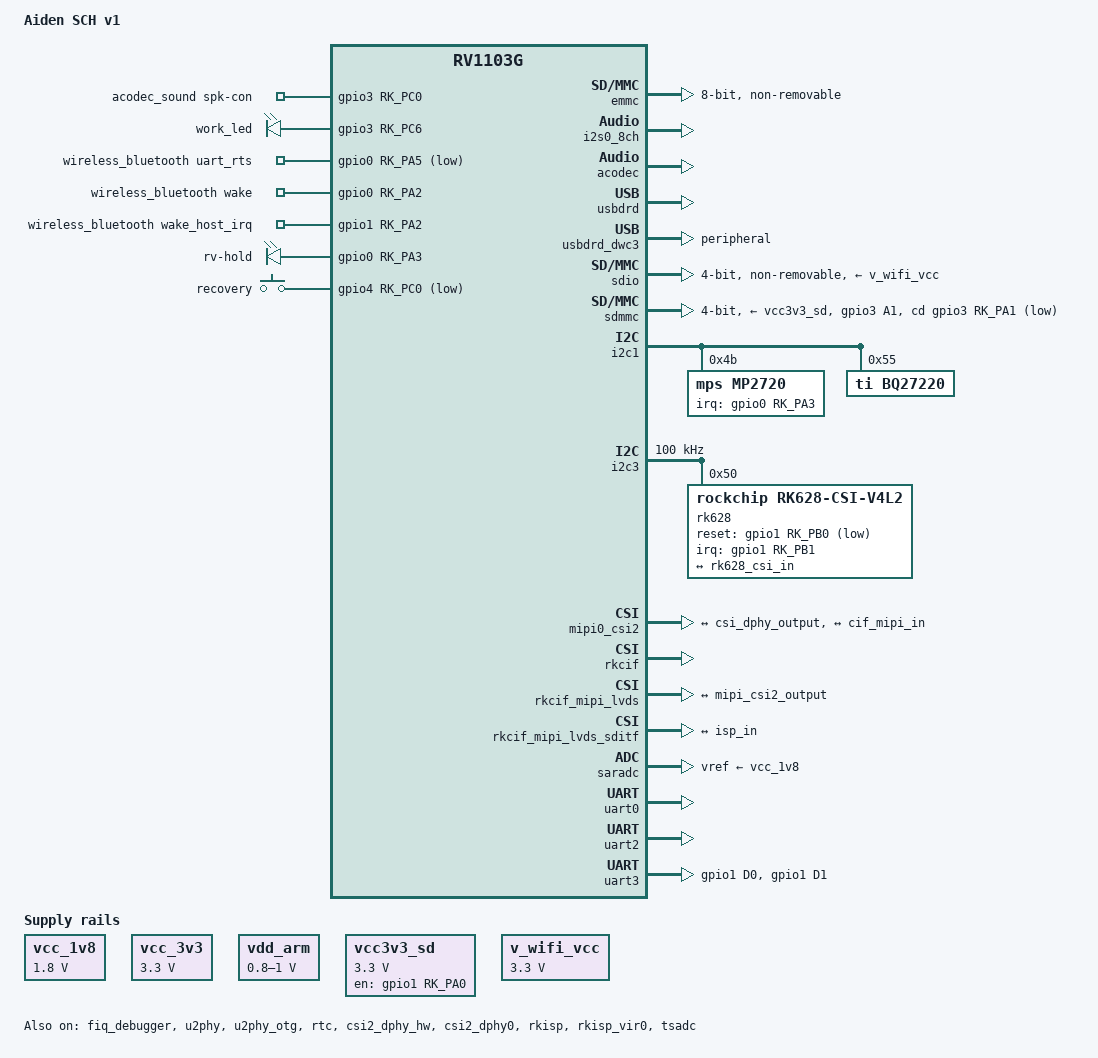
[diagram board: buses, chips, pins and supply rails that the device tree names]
// SPDX-License-Identifier: (GPL-2.0+ OR MIT)
/*
 * Aiden SCH v1 (RV1106G) board device tree
 *
 * Derived from rv1106g-luckfox-pico-zero.dts and
 * rv1106-luckfox-pico-zero-ipc.dtsi and adapted to the Aiden SCH v1
 * hardware (GD32L235 MCU + MP2720 charger + BQ27220 fuel gauge,
 * RK628F/H HDMI-to-CSI bridge on I2C3, SDMMC0 TF card, SKI.WB800
 * WiFi/BT, AW8010 amplifier and ASRPro voice module).
 */

/dts-v1/;
#include "rv1106.dtsi"
#include "rv1106-evb.dtsi"
#include <dt-bindings/input/input.h>
#include <dt-bindings/display/media-bus-format.h>

/ {
	model = "Aiden SCH v1";
	compatible = "rockchip,rv1103g-38x38-ipc-v10", "rockchip,rv1106g3";

	chosen {
		bootargs = "earlycon=uart8250,mmio32,0xff4c0000 console=ttyFIQ0 root=/dev/mmcblk0p7 rootwait snd_soc_core.prealloc_buffer_size_kbytes=16 coherent_pool=0";
	};

	restart-poweroff {
		compatible = "restart-poweroff";
	};

	reserved_memory: reserved-memory {
		status = "okay";
		#address-cells = <1>;
		#size-cells = <1>;
		ranges;
		mmc_ecsd: mmc@3f000 {
			reg = <0x3f000 0x00001000>;
		};
	};

	acodec_sound: acodec-sound {
		compatible = "simple-audio-card";
		simple-audio-card,name = "rv1106-acodec";
		simple-audio-card,format = "i2s";
		simple-audio-card,mclk-fs = <256>;
		/* AW8010AFCR Class-D amplifier enable/shutdown (SPK_SDn_1V8). */
		spk-con-gpios = <&gpio3 RK_PC0 GPIO_ACTIVE_HIGH>;
		status = "okay";
		simple-audio-card,cpu {
			sound-dai = <&i2s0_8ch>;
		};
		simple-audio-card,codec {
			sound-dai = <&acodec>;
		};
	};

	dsm_sound: dsm-sound {
		status = "disabled";
		compatible = "simple-audio-card";
		simple-audio-card,format = "i2s";
		simple-audio-card,mclk-fs = <256>;
		simple-audio-card,name = "rockchip,dsm-sound";
		simple-audio-card,bitclock-master = <&sndcodec>;
		simple-audio-card,frame-master = <&sndcodec>;
		sndcpu: simple-audio-card,cpu {
			sound-dai = <&i2s0_8ch>;
		};
		sndcodec: simple-audio-card,codec {
			sound-dai = <&dsm>;
		};
	};

	vcc_1v8: vcc-1v8 {
		compatible = "regulator-fixed";
		regulator-name = "vcc_1v8";
		regulator-always-on;
		regulator-boot-on;
		regulator-min-microvolt = <1800000>;
		regulator-max-microvolt = <1800000>;
	};

	vcc_3v3: vcc-3v3 {
		compatible = "regulator-fixed";
		regulator-name = "vcc_3v3";
		regulator-always-on;
		regulator-boot-on;
		regulator-min-microvolt = <3300000>;
		regulator-max-microvolt = <3300000>;
	};

	vdd_arm: vdd-arm {
		compatible = "regulator-fixed";
		regulator-name = "vdd_arm";
		regulator-min-microvolt = <800000>;
		regulator-max-microvolt = <1000000>;
		regulator-init-microvolt = <900000>;
		regulator-always-on;
		regulator-boot-on;
	};

	/* TF card supply switch driven by the WS4622C (SDMMC0_PWREN). */
	vcc3v3_sd: vcc3v3-sd-regulator {
		compatible = "regulator-fixed";
		regulator-name = "vcc3v3_sd";
		gpio = <&gpio1 RK_PA0 GPIO_ACTIVE_HIGH>;
		regulator-min-microvolt = <3300000>;
		regulator-max-microvolt = <3300000>;
		enable-active-high;
	};

	/* WiFi (SKI.WB800) 3.3V rail. */
	v_wifi_vcc: v-wifi-vcc {
		compatible = "regulator-fixed";
		regulator-name = "v_wifi_vcc";
		regulator-always-on;
		regulator-boot-on;
		regulator-min-microvolt = <3300000>;
		regulator-max-microvolt = <3300000>;
	};

	leds: leds {
		compatible = "gpio-leds";
		work_led: work {
			gpios = <&gpio3 RK_PC6 GPIO_ACTIVE_HIGH>;
			linux,default-trigger = "activity";
			default-state = "on";
		};
	};

	wireless_bluetooth: wireless-bluetooth {
		compatible = "bluetooth-platdata";
		uart_rts_gpios = <&gpio0 RK_PA5 GPIO_ACTIVE_LOW>;
		pinctrl-names = "default";
		BT,wake_gpio     = <&gpio0 RK_PA2 GPIO_ACTIVE_HIGH>; /* RV_WAKE_BT_1V8 */
		BT,wake_host_irq = <&gpio1 RK_PA2 GPIO_ACTIVE_HIGH>; /* BT_WAKE_MCU */
		status = "okay";
	};

	/*
	 * GD32L235 companion MCU interface.
	 *
	 * RV_HOLD keeps VCC5V0_SYS enabled: the MCU forces the rail up at
	 * power-on and cuts it again unless the SoC takes over the signal
	 * within its supervision window.  The kernel drives GPIO0_A3 high
	 * through the gpio-leds default state.
	 */
	mcu_control {
		compatible = "gpio-leds";

		rv_hold {
			label = "rv-hold";
			gpios = <&gpio0 RK_PA3 GPIO_ACTIVE_HIGH>;
			default-state = "on";
		};
	};

	/*
	 * RECOVERY shares the GPIO4_C0 / SARADC_IN0 ball.  Pulling it low
	 * while the BootROM samples the pin enters Loader/download mode; at
	 * runtime it is reported as a KEY_VENDOR key event.
	 */
	gpio-keys {
		compatible = "gpio-keys";
		autorepeat;

		recovery {
			label = "recovery";
			linux,code = <KEY_VENDOR>;
			gpios = <&gpio4 RK_PC0 GPIO_ACTIVE_LOW>;
			debounce-interval = <100>;
		};
	};

	/*
	 * The EVB ADC volume keys are not populated; GPIO4_C0 is used as
	 * RECOVERY instead of as SARADC_IN0.
	 */
	adc-keys {
		status = "disabled";
	};
};

/**********CRU**********/
&cru {
	assigned-clocks =
		<&cru PLL_GPLL>, <&cru PLL_CPLL>,
		<&cru ARMCLK>,
		<&cru ACLK_PERI_ROOT>, <&cru HCLK_PERI_ROOT>,
		<&cru PCLK_PERI_ROOT>, <&cru ACLK_BUS_ROOT>,
		<&cru PCLK_TOP_ROOT>, <&cru PCLK_PMU_ROOT>,
		<&cru HCLK_PMU_ROOT>, <&cru CLK_500M_SRC>;
	assigned-clock-rates =
		<1188000000>, <700000000>,
		<1104000000>,
		<400000000>, <200000000>,
		<100000000>, <300000000>,
		<100000000>, <100000000>,
		<200000000>, <700000000>;
};

/**********NPU**********/
&npu {
	assigned-clock-rates = <700000000>;
};

/**********EMMC**********/
&emmc {
	bus-width = <8>;
	cap-mmc-highspeed;
	non-removable;
	// mmc-hs200-1_8v;
	rockchip,default-sample-phase = <90>;
	no-sdio;
	no-sd;
	memory-region-ecsd = <&mmc_ecsd>;
	post-power-on-delay-ms = <0>;
	status = "okay";
};

&cpu0 {
	cpu-supply = <&vdd_arm>;
};

/************************* FIQ_DUBUGGER ****************************/
&fiq_debugger {
	rockchip,irq-mode-enable = <1>;
	status = "okay";
};

/***************************** audio ********************************/
&i2s0_8ch {
	#sound-dai-cells = <0>;
	status = "okay";
};

&acodec {
	#sound-dai-cells = <0>;
	status = "okay";
};

/***************************** DSM *********************************/
&dsm {
	status = "disabled";
};

/***************************** USB *********************************/
&u2phy {
	status = "okay";
};

&u2phy_otg {
	status = "okay";
};

&usbdrd {
	status = "okay";
};

&usbdrd_dwc3 {
	extcon = <&u2phy>;
	status = "okay";
	dr_mode = "peripheral";
};

/**********SDIO-WIFI (SKI.WB800)**********/
&sdio {
	max-frequency = <50000000>;
	bus-width = <4>;
	non-removable;
	cap-sd-highspeed;
	supports-sdio;
	vmmc-supply = <&v_wifi_vcc>; /* WiFi supply */
	pinctrl-names = "default";
	pinctrl-0 = <&sdmmc1m0_cmd &sdmmc1m0_clk &sdmmc1m0_bus4>;
	status = "okay";
};

/**********SD_CARD / TF (SDMMC0)**********/
&sdmmc {
	max-frequency = <50000000>;
	bus-width = <4>;
	cap-sd-highspeed;
	supports-sd;
	disable-wp;
	vmmc-supply = <&vcc3v3_sd>; /* TF card supply */
	cd-gpios = <&gpio3 RK_PA1 GPIO_ACTIVE_LOW>; /* SDMMC_DET */
	pinctrl-names = "default";
	pinctrl-0 = <&sdmmc0_clk &sdmmc0_cmd &sdmmc0_bus4 &sdmmc0_det>;
	status = "okay";
};

&pinctrl {
	sdmmc0 {
		sdmmc0_det: sdmmc0-det {
			rockchip,pins =
				/* sdmmc0_det */
				<3 RK_PA1 1 &pcfg_pull_up>;
		};
	};
};

/**********ETH**********/
&gmac {
	status = "disabled";
};

/**********RTC**********/
&rtc {
	status = "okay";
};

/**********Power management / I2C**********/
&i2c1 {
	status = "okay";
	pinctrl-names = "default";
	pinctrl-0 = <&i2c1m1_xfer>;

	mp2720: charger@4b {
		compatible = "mps,mp2720";
		reg = <0x4b>;
		interrupt-parent = <&gpio0>;
		interrupts = <RK_PA3 IRQ_TYPE_LEVEL_LOW>;
		status = "okay";
	};

	bq27220: fuel-gauge@55 {
		compatible = "ti,bq27220";
		reg = <0x55>;
		status = "okay";
	};
};

/*************************** CSI *********************************/
&csi2_dphy_hw {
	status = "okay";
};

&csi2_dphy0 {
	status = "okay";

	ports {
		#address-cells = <1>;
		#size-cells = <0>;

		port@0 {
			reg = <0>;
			#address-cells = <1>;
			#size-cells = <0>;

			/* RK628F/H HDMI-to-CSI bridge (four lanes). */
			rk628_csi_in: endpoint@0 {
				reg = <0>;
				remote-endpoint = <&rk628_csi_out>;
				data-lanes = <1 2 3 4>;
			};
		};

		port@1 {
			reg = <1>;
			#address-cells = <1>;
			#size-cells = <0>;

			csi_dphy_output: endpoint@0 {
					reg = <0>;
					remote-endpoint = <&mipi_csi2_input>;
			};
		};
	};
};

/* RK628F/H is mounted on I2C3 (RV_I2C3_SCL_1V8 / SDA_1V8), address 0x50. */
&i2c3 {
	status = "okay";
	clock-frequency = <100000>;
	pinctrl-names = "default";
	pinctrl-0 = <&i2c3m1_xfer>;

	rk628: rk628@50 {
		compatible = "rockchip,rk628-csi-v4l2";
		reg = <0x50>;
		status = "okay";
		continues-clk;
		/* Preserve the HDMI timing on CSI; userspace advertises 1080p60-only EDID. */

		pinctrl-names = "default";
		pinctrl-0 = <&rk628_reset_pin &rk628_int_pin>;
		reset-gpios = <&gpio1 RK_PB0 GPIO_ACTIVE_LOW>; /* RK628_RESET_H */
		interrupt-parent = <&gpio1>;
		interrupts = <RK_PB1 IRQ_TYPE_LEVEL_HIGH>; /* RK628_INT_H */

		rockchip,camera-module-index = <0>;
		rockchip,camera-module-facing = "back";
		rockchip,camera-module-name = "RK628-CSI";
		rockchip,camera-module-lens-name = "NC";

		port {
			rk628_csi_out: endpoint {
				remote-endpoint = <&rk628_csi_in>;
				data-lanes = <1 2 3 4>;
				clock-lanes = <0>;
			};
		};
	};
};

/* The legacy TC358743 bridge and its I2C4 bus are not populated. */
&i2c4 {
	status = "disabled";
};

&mipi0_csi2 {
	status = "okay";

	ports {
		#address-cells = <1>;
		#size-cells = <0>;

		port@0 {
			reg = <0>;
			#address-cells = <1>;
			#size-cells = <0>;

			mipi_csi2_input: endpoint@1 {
					reg = <1>;
					remote-endpoint = <&csi_dphy_output>;
			};
		};

		port@1 {
			reg = <1>;
			#address-cells = <1>;
			#size-cells = <0>;

			mipi_csi2_output: endpoint@0 {
					reg = <0>;
					remote-endpoint = <&cif_mipi_in>;
			};
		};
	};
};

&rkcif {
	status = "okay";
};

&rkcif_mipi_lvds {
	status = "okay";

	pinctrl-names = "default";
	pinctrl-0 = <&mipi_pins>;
	port {
		/* MIPI CSI-2 endpoint */
		cif_mipi_in: endpoint {
				remote-endpoint = <&mipi_csi2_output>;
		};
	};
};

&rkcif_mipi_lvds_sditf {
	status = "okay";

	port {
		/* MIPI CSI-2 endpoint */
		mipi_lvds_sditf: endpoint {
				remote-endpoint = <&isp_in>;
		};
	};
};

&rkisp {
	status = "okay";
};

&rkisp_vir0 {
	status = "okay";

	port@0 {
		isp_in: endpoint {
				remote-endpoint = <&mipi_lvds_sditf>;
		};
	};
};

/***************************** ADC ********************************/
&saradc {
	status = "okay";
	vref-supply = <&vcc_1v8>;
};

&tsadc {
	status = "okay";
};

/**************************** UART ********************************/
/* Bluetooth (SKI.WB800) on UART0 with RTS/CTS hardware flow control. */
&uart0 {
	status = "okay";
	pinctrl-names = "default";
	pinctrl-0 = <&uart0m1_xfer &uart0m1_ctsn &uart0m1_rtsn>;
};

/* ASRPro offline voice module. */
&uart2 {
	status = "okay";
	pinctrl-names = "default";
	pinctrl-0 = <&uart2m1_xfer>;
};

/* Extension UART3. */
&uart3 {
	status = "okay";
	pinctrl-names = "default";
	pinctrl-0 = <&uart3m1_xfer>;
};

/**************************** SPI *********************************/
&spi0 {
	status = "disabled";
};

/**************************** PINCTRL ******************************/
&pinctrl {
	rk628 {
		rk628_reset_pin: rk628-reset-pin {
			rockchip,pins = <1 RK_PB0 RK_FUNC_GPIO &pcfg_pull_none>;
		};

		rk628_int_pin: rk628-int-pin {
			rockchip,pins = <1 RK_PB1 RK_FUNC_GPIO &pcfg_pull_up>;
		};
	};

	/*
	 * UART3 is the GD32L235 LPUART1 link and uses the M1 pin group on
	 * GPIO1_D0/D1.  RV1106 muxes UART3_M1 with function index 5 on these
	 * balls; function 2 selects vicap_clkin_m1/vicap_hsync_m1 (index 2 is
	 * the RV1126 value and does not apply here).
	 */
	uart3 {
		uart3m1_xfer: uart3m1-xfer {
			rockchip,pins =
				/* gpio1_d0 -> UART3_TX_M1 */
				<1 RK_PD0 5 &pcfg_pull_none>,
				/* gpio1_d1 -> UART3_RX_M1 */
				<1 RK_PD1 5 &pcfg_pull_none>;
		};
	};
};
